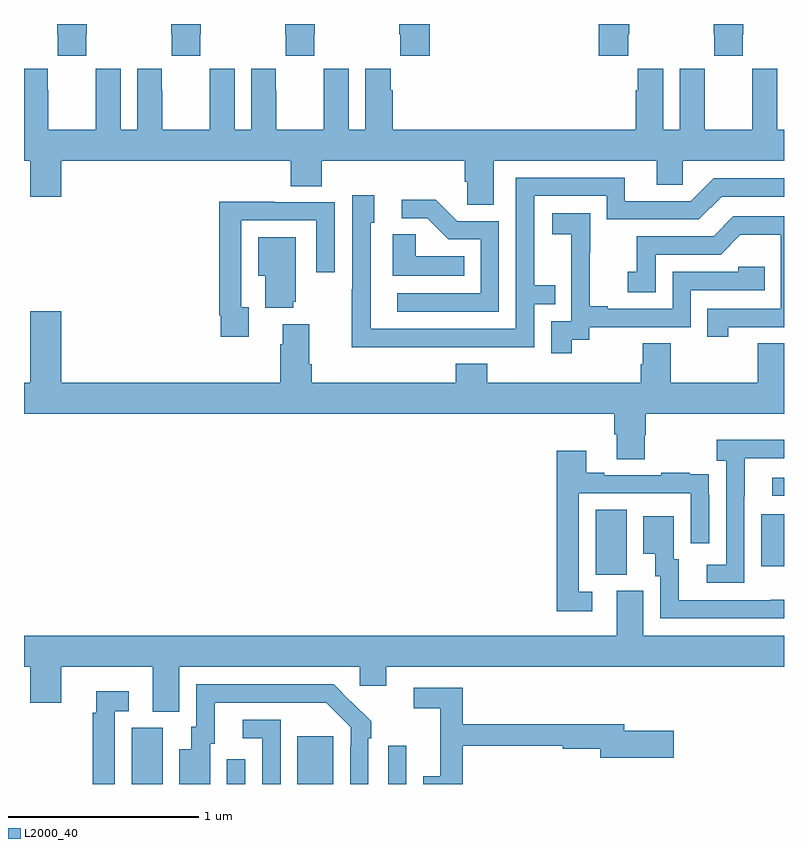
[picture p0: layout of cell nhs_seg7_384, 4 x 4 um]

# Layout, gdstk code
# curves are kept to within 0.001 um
import gdstk
lib = gdstk.Library(unit=1e-6, precision=1e-09)
def R(c, l, rs):  # rectangles x0, y0, x1, y1
    for r in rs: c.add(gdstk.rectangle(r[:2], r[2:], *l))
def P(c, l, *ps):  # polygons
    for p in ps: c.add(gdstk.Polygon(p, *l))
L2000_40 = (2000, 40)

nhs_seg7_384 = lib.new_cell('nhs_seg7_384')
R(nhs_seg7_384, L2000_40, [(141.566,1000,141.73,1000.296), (142.068,1000,142.164,1000.129), (142.439,1000,142.627,1000.252), (142.917,1000,143.013,1000.201), (144.008,1001.101,144.172,1001.444), (144.881,1001.145,145,1001.419), (144.939,1001.517,145,1001.613)])
P(nhs_seg7_384, L2000_40, [(143.135,1004),(142.975,1004),(142.975,1003.945),(142.981,1003.945),(142.981,1003.833),(143.135,1003.833)],
  [(141.927,1003.945),(141.93,1003.945),(141.93,1004),(141.775,1004),(141.775,1003.945),(141.777,1003.945),(141.777,1003.833),(141.927,1003.833)],
  [(142.527,1003.945),(142.53,1003.945),(142.53,1004),(142.375,1004),(142.375,1003.945),(142.377,1003.945),(142.377,1003.833),(142.527,1003.833)],
  [(144.783,1003.945),(144.786,1003.945),(144.786,1004),(144.631,1004),(144.631,1003.945),(144.633,1003.945),(144.633,1003.833),(144.783,1003.833)],
  [(144.179,1003.945),(144.186,1003.945),(144.186,1004),(144.026,1004),(144.026,1003.833),(144.179,1003.833)],
  [(141.327,1003.945),(141.33,1003.945),(141.33,1004),(141.175,1004),(141.175,1003.945),(141.177,1003.945),(141.177,1003.833),(141.327,1003.833)],
  [(143.473,1003.28),(144.329,1003.28),(144.329,1003.153),(144.468,1003.153),(144.468,1003.28),(145,1003.28),(145,1003.444),(144.964,1003.444),(144.964,1003.765),(144.834,1003.765),(144.834,1003.652),(144.833,1003.652),(144.833,1003.444),(144.583,1003.444),(144.583,1003.652),(144.582,1003.652),(144.582,1003.765),(144.452,1003.765),(144.452,1003.444),(144.364,1003.444),(144.364,1003.765),(144.23,1003.765),(144.23,1003.652),(144.221,1003.652),(144.221,1003.444),(142.94,1003.444),(142.94,1003.652),(142.93,1003.652),(142.93,1003.765),(142.796,1003.765),(142.796,1003.444),(142.708,1003.444),(142.708,1003.765),(142.578,1003.765),(142.578,1003.652),(142.577,1003.652),(142.577,1003.444),(142.327,1003.444),(142.327,1003.652),(142.326,1003.652),(142.326,1003.765),(142.196,1003.765),(142.196,1003.444),(142.108,1003.444),(142.108,1003.765),(141.978,1003.765),(141.978,1003.652),(141.977,1003.652),(141.977,1003.444),(141.727,1003.444),(141.727,1003.652),(141.726,1003.652),(141.726,1003.765),(141.596,1003.765),(141.596,1003.444),(141.508,1003.444),(141.508,1003.765),(141.378,1003.765),(141.378,1003.652),(141.377,1003.652),(141.377,1003.444),(141.127,1003.444),(141.127,1003.652),(141.126,1003.652),(141.126,1003.765),(141,1003.765),(141,1003.28),(141.032,1003.28),(141.032,1003.092),(141.196,1003.092),(141.196,1003.28),(142.403,1003.28),(142.403,1003.147),(142.568,1003.147),(142.568,1003.28),(143.321,1003.28),(143.321,1003.171),(143.334,1003.171),(143.334,1003.048),(143.473,1003.048)],
  [(143.189,1002.3),(143.685,1002.3),(143.685,1002.525),(143.795,1002.525),(143.795,1002.626),(143.685,1002.626),(143.685,1003.095),(144.066,1003.095),(144.066,1002.972),(144.552,1002.972),(144.672,1003.092),(145,1003.092),(145,1003.188),(144.63,1003.188),(144.51,1003.068),(144.163,1003.068),(144.163,1003.191),(143.589,1003.191),(143.589,1002.396),(142.824,1002.396),(142.824,1002.954),(142.843,1002.954),(142.843,1003.099),(142.728,1003.099),(142.728,1002.605),(142.726,1002.605),(142.726,1002.299)],
  [(143.499,1002.963),(143.28,1002.963),(143.167,1003.076),(142.989,1003.076),(142.989,1002.978),(143.123,1002.978),(143.234,1002.867),(143.403,1002.867),(143.403,1002.582),(142.965,1002.582),(142.965,1002.486),(143.499,1002.486)],
  [(142.183,1002.51),(142.143,1002.51),(142.143,1002.966),(142.539,1002.966),(142.539,1002.693),(142.635,1002.693),(142.635,1003.062),(142.319,1003.062),(142.319,1003.064),(142.027,1003.064),(142.027,1002.466),(142.035,1002.466),(142.035,1002.354),(142.183,1002.354)],
  [(143.884,1002.337),(143.976,1002.337),(143.976,1002.405),(144.51,1002.405),(144.51,1002.6),(144.899,1002.6),(144.899,1002.723),(144.759,1002.723),(144.759,1002.696),(144.414,1002.696),(144.414,1002.501),(144.073,1002.501),(144.073,1002.514),(143.978,1002.514),(143.978,1002.797),(143.979,1002.797),(143.979,1003.003),(143.781,1003.003),(143.781,1002.893),(143.879,1002.893),(143.879,1002.665),(143.88,1002.665),(143.88,1002.435),(143.775,1002.435),(143.775,1002.267),(143.884,1002.267)],
  [(144.706,1002.405),(145,1002.405),(145,1002.987),(144.734,1002.987),(144.629,1002.882),(144.226,1002.882),(144.226,1002.697),(144.177,1002.697),(144.177,1002.588),(144.324,1002.588),(144.324,1002.786),(144.666,1002.786),(144.77,1002.89),(144.984,1002.89),(144.984,1002.501),(144.595,1002.501),(144.595,1002.354),(144.706,1002.354)],
  [(143.318,1002.778),(143.061,1002.778),(143.061,1002.893),(142.94,1002.893),(142.94,1002.674),(143.318,1002.674)],
  [(142.418,1002.537),(142.429,1002.537),(142.429,1002.877),(142.232,1002.877),(142.232,1002.674),(142.271,1002.674),(142.271,1002.506),(142.418,1002.506)],
  [(144.257,1002.21),(144.245,1002.21),(144.245,1002.112),(143.438,1002.112),(143.438,1002.211),(143.273,1002.211),(143.273,1002.112),(142.514,1002.112),(142.514,1002.208),(142.501,1002.208),(142.501,1002.421),(142.361,1002.421),(142.361,1002.314),(142.349,1002.314),(142.349,1002.112),(141.196,1002.112),(141.196,1002.487),(141.032,1002.487),(141.032,1002.112),(141,1002.112),(141,1001.948),(144.107,1001.948),(144.107,1001.842),(144.119,1001.842),(144.119,1001.71),(144.267,1001.71),(144.267,1001.835),(144.272,1001.835),(144.272,1001.948),(145,1001.948),(145,1002.32),(144.862,1002.32),(144.862,1002.112),(144.405,1002.112),(144.405,1002.32),(144.257,1002.32)],
  [(144.792,1001.515),(144.793,1001.515),(144.793,1001.715),(145,1001.715),(145,1001.812),(144.645,1001.812),(144.645,1001.702),(144.696,1001.702),(144.696,1001.154),(144.594,1001.154),(144.594,1001.058),(144.792,1001.058)],
  [(143.992,1001.013),(143.919,1001.013),(143.919,1001.529),(144.51,1001.529),(144.51,1001.268),(144.606,1001.268),(144.606,1001.522),(144.605,1001.522),(144.605,1001.631),(144.503,1001.631),(144.503,1001.638),(144.355,1001.638),(144.355,1001.625),(144.055,1001.625),(144.055,1001.638),(143.959,1001.638),(143.959,1001.755),(143.803,1001.755),(143.803,1000.908),(143.992,1000.908)],
  [(145,1000.969),(144.929,1000.969),(144.929,1000.968),(144.445,1000.968),(144.445,1001.184),(144.421,1001.184),(144.421,1001.41),(144.26,1001.41),(144.26,1001.213),(144.323,1001.213),(144.323,1001.094),(144.348,1001.094),(144.348,1000.872),(145,1000.872)],
  [(141.817,1000.616),(142.767,1000.616),(142.767,1000.518),(142.906,1000.518),(142.906,1000.616),(145,1000.616),(145,1000.78),(144.259,1000.78),(144.259,1001.016),(144.119,1001.016),(144.119,1000.78),(141,1000.78),(141,1000.616),(141.032,1000.616),(141.032,1000.428),(141.196,1000.428),(141.196,1000.616),(141.677,1000.616),(141.677,1000.381),(141.817,1000.381)],
  [(141.979,1000.212),(142.003,1000.212),(142.003,1000.428),(142.591,1000.428),(142.719,1000.299),(142.719,1000.199),(142.716,1000.199),(142.716,1000),(142.812,1000),(142.812,1000.241),(142.827,1000.241),(142.827,1000.329),(142.63,1000.524),(141.906,1000.524),(141.906,1000.302),(141.881,1000.302),(141.881,1000.183),(141.818,1000.183),(141.818,1000),(141.979,1000)],
  [(143.309,1000.201),(143.836,1000.201),(143.836,1000.186),(144.032,1000.186),(144.032,1000.139),(144.421,1000.139),(144.421,1000.281),(144.16,1000.281),(144.16,1000.315),(143.309,1000.315),(143.309,1000.506),(143.052,1000.506),(143.052,1000.398),(143.192,1000.398),(143.192,1000.042),(143.102,1000.042),(143.102,1000),(143.309,1000)],
  [(141.477,1000.383),(141.55,1000.383),(141.55,1000.489),(141.38,1000.489),(141.38,1000.376),(141.361,1000.376),(141.361,1000),(141.477,1000)],
  [(142.35,1000.338),(142.152,1000.338),(142.152,1000.242),(142.254,1000.242),(142.254,1000),(142.35,1000)])

lib.write_gds('nhs_seg7_384.gds')
